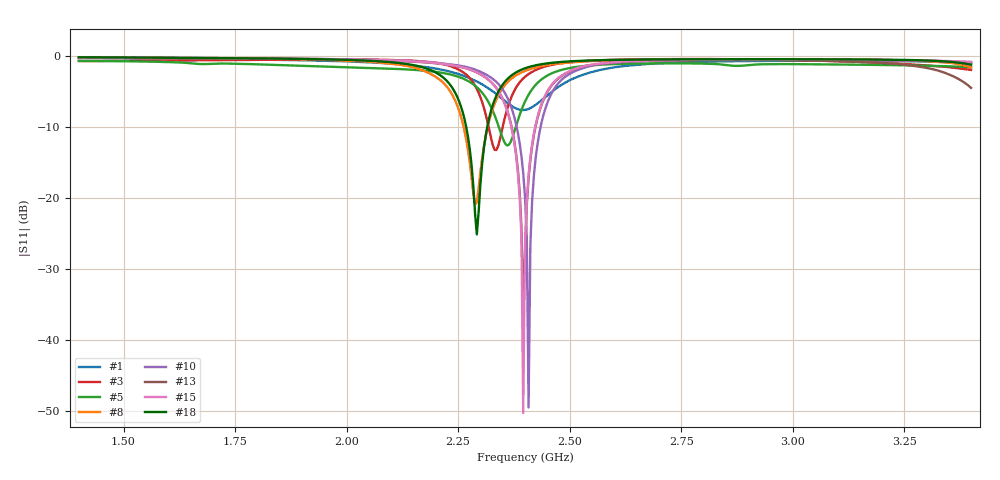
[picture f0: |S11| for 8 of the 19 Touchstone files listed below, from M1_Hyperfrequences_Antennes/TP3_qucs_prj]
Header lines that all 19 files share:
#  Hz  S  RI  R  50
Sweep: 1.4 GHz to 3.4 GHz
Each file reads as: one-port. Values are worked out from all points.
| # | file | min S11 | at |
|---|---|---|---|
| 1 | 1-base_simulation.s1p | -7.6 dB | 2.396 GHz |
| 2 | 2-quart1_simulation.s1p | -9.4 dB | 2.336 GHz |
| 3 | 3-quart2_simulation.s1p | -13.2 dB | 2.336 GHz |
| 4 | 4-evidee_simulation.s1p | -5.7 dB | 2.384 GHz |
| 5 | 5-reseau_simulation.s1p | -12.6 dB | 2.36 GHz |
| 6 | 6-design-y0L4-Z100.s1p | -32.2 dB | 2.292 GHz |
| 7 | 6-design-y0L4.s1p | -41.3 dB | 2.408 GHz |
| 8 | 6-design-y0L6-Z100.s1p | -20.9 dB | 2.288 GHz |
| 9 | 6-design-y0L6.s1p | -12.6 dB | 2.404 GHz |
| 10 | 6-design-y0L4099.s1p | -49.5 dB | 2.408 GHz |
| 11 | 6-design-y089-W12.s1p | -17.3 dB | 2.38 GHz |
| 12 | 6-design-y089-w013.s1p | -48.9 dB | 2.42 GHz |
| 13 | 6-design-y089-W1077.s1p | -34.8 dB | 2.396 GHz |
| 14 | 6-design-y089.s1p | -24.5 dB | 2.408 GHz |
| 15 | 6-design-y0117-w0065.s1p | -50.2 dB | 2.396 GHz |
| 16 | 6-design-y0117-W0903.s1p | -52.9 dB | 2.424 GHz |
| 17 | 6-design-y0117.s1p | -19.6 dB | 2.404 GHz |
| 18 | 6-design-y0256-Z100.s1p | -25.1 dB | 2.292 GHz |
| 19 | 6-design-y0256.s1p | -5.7 dB | 2.384 GHz |
